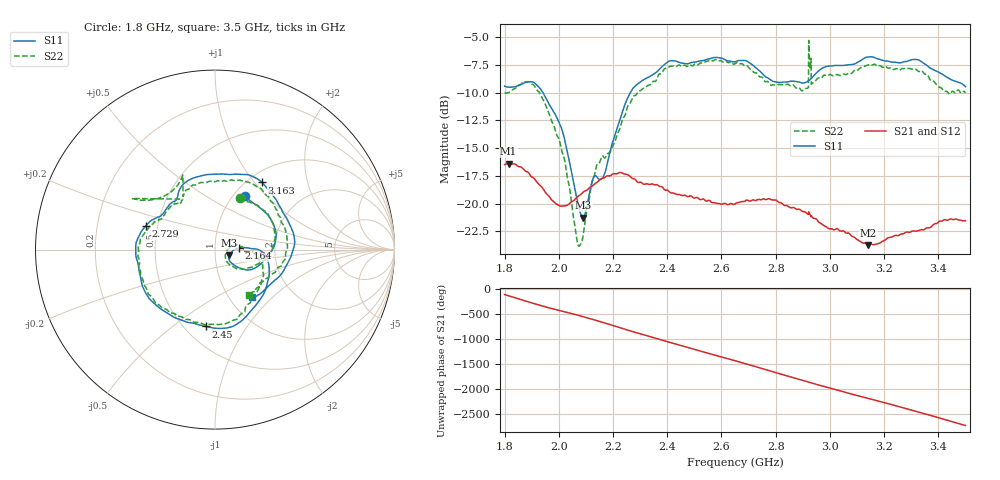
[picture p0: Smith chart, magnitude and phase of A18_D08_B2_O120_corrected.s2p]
! Created with skrf 1.9.0 (http://scikit-rf.org).
# Hz S RI R 50.0
!freq ReS11 ImS11 ReS21 ImS21 ReS12 ImS12 ReS22 ImS22
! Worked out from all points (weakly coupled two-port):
!   1601 points, 1.8 GHz to 3.5 GHz, reference 50 ohm
!   highest |S21| = -16.39 dB at 1.815 GHz (marker M1); lowest = -23.7 dB at 3.142 GHz (marker M2)
!   lowest |S11| = -21.3 dB at 2.09 GHz (marker M3), VSWR 1.19, Z = 58.6 - j3.7 ohm
!   |S11| at or under -10 dB: 1.942 GHz to 2.264 GHz (321.8 MHz wide, 15.3 % of centre)
!   |S22| runs from -23.8 to -5.3 dB; largest |S21 - S12| = 0.0029
!   S11 on the Smith chart (normalised r, x): 1.8 GHz: 1.13, +0.75; 2.164 GHz: 1.31, +0.02; 2.45 GHz: 0.63, -0.66; 2.729 GHz: 0.43, +0.14; 3.163 GHz: 1.16, +1.09; 3.5 GHz: 1.27, -0.76
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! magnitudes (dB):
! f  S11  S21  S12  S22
! 1.8 GHz  -9.4  -16.5  -16.5  -10.0
! 1.815 GHz  -9.5  -16.4  -16.4  -10.0
! 1.887 GHz  -9.0  -17.2  -17.2  -9.0
! 1.941 GHz  -10.0  -18.6  -18.6  -10.6
! 2.013 GHz  -13.4  -20.2  -20.2  -15.4
! 2.067 GHz  -19.5  -19.4  -19.4  -23.3
! 2.084 GHz  -21.1  -19.1  -19.1  -23.5
! 2.09 GHz  -21.3  -19.0  -19.0  -22.8
! 2.128 GHz  -17.6  -18.3  -18.3  -17.8
! 2.164 GHz  -17.5  -17.7  -17.6  -15.8
! 2.261 GHz  -10.1  -17.5  -17.5  -11.0
! 2.367 GHz  -8.0  -18.4  -18.3  -8.4
! 2.45 GHz  -7.3  -19.2  -19.2  -7.6
! 2.65 GHz  -7.2  -20.0  -20.0  -7.4
! 2.729 GHz  -7.8  -19.7  -19.7  -8.2
! 2.899 GHz  -9.1  -20.7  -20.7  -9.8
! 2.934 GHz  -8.7  -21.2  -21.2  -9.2
! 3.142 GHz  -6.8  -23.7  -23.6  -7.5
! 3.163 GHz  -6.8  -23.7  -23.7  -7.4
! 3.217 GHz  -7.2  -23.1  -23.0  -7.8
! 3.326 GHz  -7.0  -22.4  -22.4  -8.1
! 3.5 GHz  -9.4  -21.6  -21.5  -10.0
